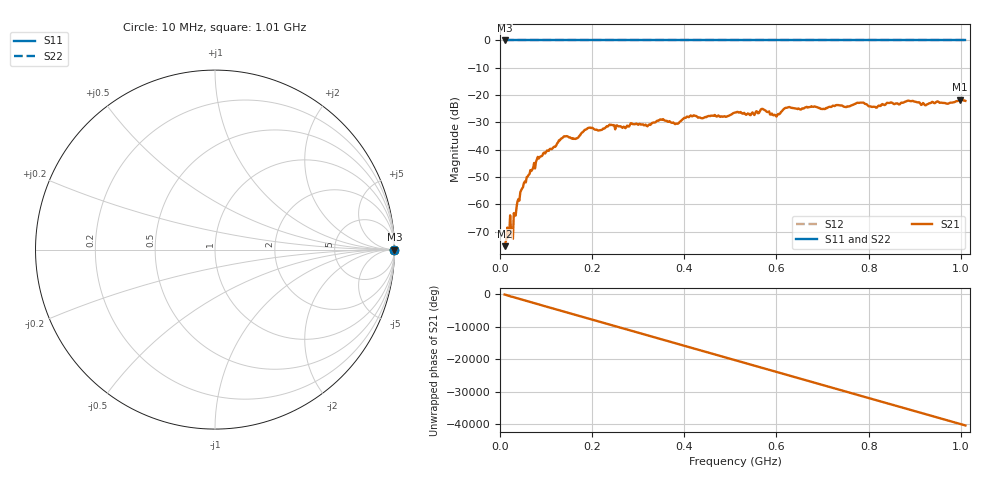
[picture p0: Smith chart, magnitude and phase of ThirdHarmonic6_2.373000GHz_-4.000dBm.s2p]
! 8/17/2025 3:43:31 AM
! C:\ANRITSUVNA\TEMP\TEMP.S2P
! CHANNEL.1
! TR.MEASUREMENT
! RAW.DATA
! RF.CORRECTION.OFF
! AVERAGING.OFF
! IF.BANDWIDTH: 5KHZ
! SWEEPTYPE:  FREQ.SWEEP(Linear)
! Reference Plane Port Info
! PORT:  PORT1  PORT2
! DISTANCE:  0  m  0  m
! TIME:  0  s  0  s
! PHASE.OFFSET:  0  deg.  0  deg.
! LOSS:  0  dB  0  dB
! REF.LOSS:  0  dB  0  dB
! REF.FREQ:  0  Hz  0  Hz
! Power Info
! POWER:  -20  dBm  -20  dBm
! EFF.POWER:  -20  dBm  -20  dBm
! SOURCE.ATTEN:  0  dB  0  dB
! TEST.ATTEN:  0  dB  0  dB
# GHZ S RI R 50.0
! FREQ.GHZ  S11RE  S11IM  S21RE  S21IM  S12RE  S12IM  S22RE  S22IM
!; PortSelection: Port_12
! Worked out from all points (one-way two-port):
!   501 points, 10 MHz to 1.01 GHz, reference 50 ohm
!   highest |S21| = -21.70 dB at 998 MHz (marker M1); lowest = -75.3 dB at 10 MHz (marker M2)
!   lowest |S11| = 0.0 dB at 10 MHz (marker M3)
!   |S11| at or under -10 dB: nowhere
!   |S22| runs from 0.0 to 0.0 dB; largest |S21 - S12| = 1.1
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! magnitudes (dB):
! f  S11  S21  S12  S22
! 10 MHz  0.0  -75.3  0.0  0.0
! 18 MHz  0.0  -72.2  0.0  0.0
! 28 MHz  0.0  -72.7  0.0  0.0
! 34 MHz  0.0  -64.1  0.0  0.0
! 48 MHz  0.0  -54.2  0.0  0.0
! 82 MHz  0.0  -42.6  0.0  0.0
! 136 MHz  0.0  -35.6  0.0  0.0
! 164 MHz  0.0  -36.1  0.0  0.0
! 178 MHz  0.0  -33.7  0.0  0.0
! 194 MHz  0.0  -32.0  0.0  0.0
! 322 MHz  0.0  -31.1  0.0  0.0
! 344 MHz  0.0  -29.4  0.0  0.0
! 384 MHz  0.0  -30.5  0.0  0.0
! 416 MHz  0.0  -27.8  0.0  0.0
! 510 MHz  0.0  -26.4  0.0  0.0
! 570 MHz  0.0  -25.1  0.0  0.0
! 598 MHz  0.0  -27.4  0.0  0.0
! 624 MHz  0.0  -24.5  0.0  0.0
! 678 MHz  0.0  -24.3  0.0  0.0
! 844 MHz  0.0  -22.9  0.0  0.0
! 998 MHz  0.0  -21.7  0.0  0.0
! 1.01 GHz  0.0  -22.1  0.0  0.0
